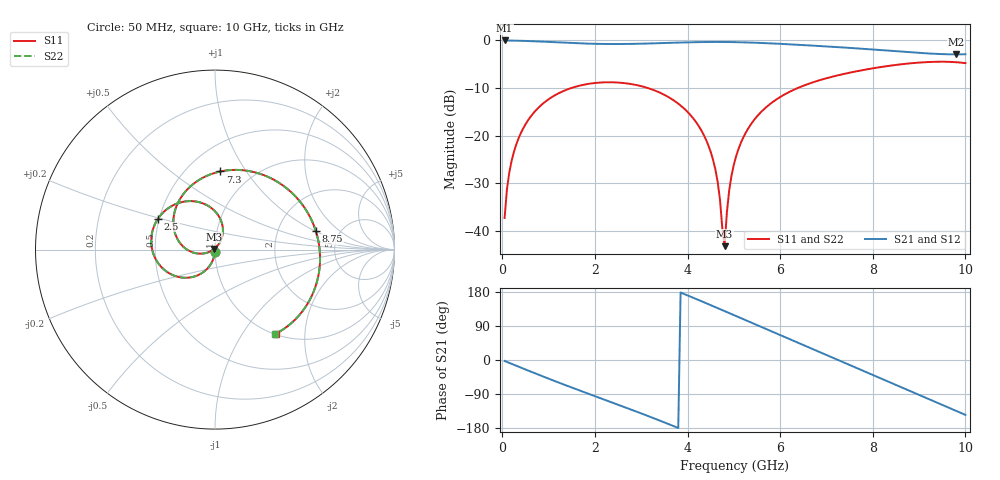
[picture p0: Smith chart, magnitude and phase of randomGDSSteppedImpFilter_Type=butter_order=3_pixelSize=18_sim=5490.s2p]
! freq	dB(S11)	phase(S11)	dB(S12)	phase(S12)
!  dB(S21)	phase(S21)	dB(S22)	phase(S22)
!S-par simulation data
#  GHz  S  DB  R 50
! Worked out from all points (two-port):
!   200 points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, 50 MHz to 10 GHz, reference 50 ohm
!   highest |S21| = 0.00 dB at 50 MHz (marker M1); lowest = -2.9 dB at 9.8 GHz (marker M2)
!   |S21| within 3 dB of the highest: start of sweep to end of sweep
!   lowest |S11| = -43.2 dB at 4.8 GHz (marker M3), VSWR 1.01, Z = 49.4 + j0.345 ohm
!   |S11| at or under -10 dB: start of sweep to 1.489 GHz; 3.143 GHz to 6.379 GHz (3.236 GHz wide, 68 % of centre)
!   |S22| runs from -43.8 to -4.5 dB; largest |S21 - S12| = 0
!   S11 on the Smith chart (normalised r, x): 50 MHz: 1.00, -0.03; 2.5 GHz: 0.49, +0.20; 7.3 GHz: 0.72, +0.77; 8.75 GHz: 3.31, +1.03; 10 GHz: 1.01, -1.42
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0.05  -37.28 -92.5  -0.00 -2.6  -0.00 -2.6  -37.28 -92.6
0.1  -31.29 -95.3  -0.01 -5.1  -0.01 -5.1  -31.29 -95.3
0.2  -25.33 -100.5  -0.03 -10.1  -0.03 -10.1  -25.33 -100.5
0.5  -17.63 -115.4  -0.10 -25.0  -0.10 -25.0  -17.63 -115.4
1.15  -11.44 -146.9  -0.39 -56.4  -0.39 -56.4  -11.44 -146.9
1.75  -9.32 -174.7  -0.64 -84.1  -0.64 -84.1  -9.32 -174.7
2.5  -8.85 151.5  -0.76 -117.9  -0.76 -117.9  -8.85 151.5
3.4  -10.95 110.0  -0.57 -159.8  -0.57 -159.8  -10.95 110.0
4  -15.01 81.2  -0.40 170.5  -0.40 170.5  -15.01 81.1
4.4  -20.87 62.6  -0.33 150.0  -0.33 150.0  -20.87 62.3
4.65  -29.67 56.3  -0.32 137.0  -0.32 137.0  -29.69 55.4
4.8  -43.21 149.7  -0.33 129.1  -0.33 129.1  -43.84 151.1
4.9  -31.45 -159.8  -0.34 123.8  -0.34 123.8  -31.49 -158.6
5.05  -24.29 -160.5  -0.36 115.9  -0.36 115.9  -24.30 -160.0
5.35  -17.88 -173.5  -0.44 100.0  -0.44 100.0  -17.89 -173.2
5.8  -13.22 163.9  -0.62 76.2  -0.62 76.2  -13.22 164.1
6.7  -8.82 117.4  -1.09 28.9  -1.09 28.9  -8.82 117.5
7.3  -7.20 86.1  -1.44 -2.7  -1.44 -2.7  -7.21 86.2
8.35  -5.34 31.3  -2.16 -58.0  -2.16 -58.0  -5.34 31.3
8.75  -4.87 10.6  -2.45 -78.9  -2.45 -78.9  -4.87 10.6
9.8  -4.57 -43.7  -2.93 -134.0  -2.93 -134.0  -4.57 -43.8
10  -4.76 -54.3  -2.90 -144.8  -2.90 -144.8  -4.76 -54.3
